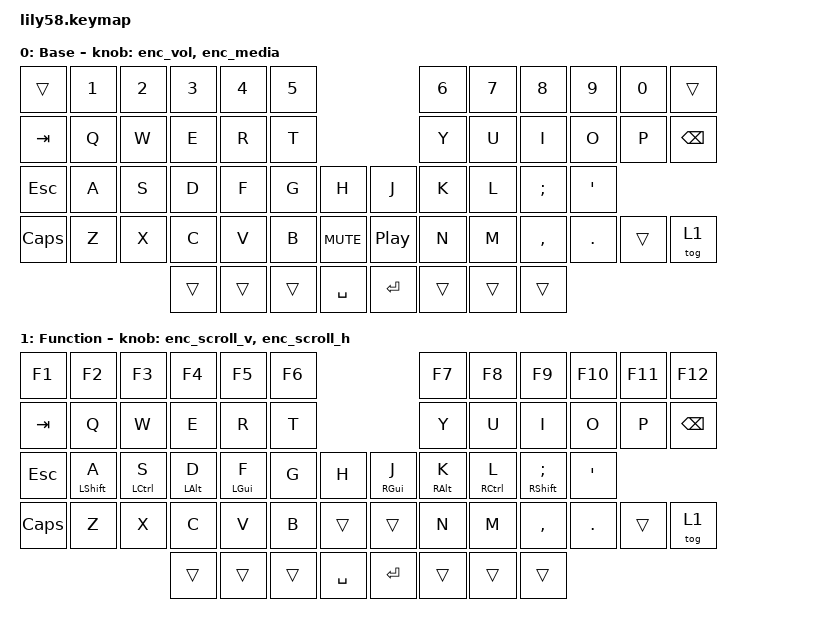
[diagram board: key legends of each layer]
/*
 * Copyright (c) 2020 The ZMK Contributors
 *
 * SPDX-License-Identifier: MIT
 */

#include <behaviors.dtsi>
#include <dt-bindings/zmk/keys.h>
#include <dt-bindings/zmk/bt.h>
#include <dt-bindings/zmk/ext_power.h>
#include <dt-bindings/zmk/outputs.h>

/ {

    behaviors {
        enc_vol: encoder_volume {
            compatible = "zmk,behavior-sensor-rotate";
            #sensor-binding-cells = <0>;
            bindings = <&kp C_VOL_UP>, <&kp C_VOL_DN>;
        };

        enc_media: encoder_media {
            compatible = "zmk,behavior-sensor-rotate";
            #sensor-binding-cells = <0>;
            bindings = <&kp C_PREV>, <&kp C_NEXT>;
        };

        enc_scroll_v: encoder_scroll_v {
            compatible = "zmk,behavior-sensor-rotate";
            #sensor-binding-cells = <0>;
            bindings = <&kp PG_UP>, <&kp PG_DN>;
        };

        enc_scroll_h: encoder_scroll_h {
            compatible = "zmk,behavior-sensor-rotate";
            #sensor-binding-cells = <0>;
            bindings = <&kp LEFT>, <&kp RIGHT>;
        };
    };

    keymap {
        compatible = "zmk,keymap";

        default_layer {
            display-name = "Base";
// ------------------------------------------------------------------------------------------------------------
// |       |  1  |  2  |  3   |  4  |  5  |                   |  6  |  7  |  8  | 9  | 0  |      |
// |  TAB  |  Q  |  W  |  E   |  R  |  T  |                   |  Y  |  U  |  I  | O  | P  | BSPC |
// │  ESC  │  A⇧ │  S⌃ │  D⌥  │  F⌘ │  G  │                   │  H  │  J⌘ │  K⌥ │ L⌃ │ Ñ⇧ │  '   │
// | MAYUS |  Z  |  X  |  C   |  V  |  B  |  VOL  |  | SCROLL |  N  |  M  |  ,  | .  |    | TOG1 |
//                     | TOG1 | MO4 | MO2 | SPACE |  | ENTER  | MO3 | MO5 |     |
            bindings = <
&trans    &kp N1       &kp N2       &kp N3      &kp N4      &kp N5                         &kp N6  &kp N7      &kp N8      &kp N9       &kp N0          &trans
&kp TAB   &kp Q        &kp W        &kp E       &kp R       &kp T                          &kp Y   &kp U       &kp I       &kp O        &kp P           &kp BSPC
&kp ESC   &kp A  &kp S  &kp D  &kp F  &kp G                          &kp H   &kp J  &kp K  &kp L  &kp SEMI  &kp SQT
&kp CAPS  &kp Z        &kp X        &kp C       &kp V       &kp B   &kp C_MUTE  &kp C_PP   &kp N   &kp M       &kp COMMA   &kp DOT      &trans          &tog 1
                                    &trans      &trans      &trans  &kp SPACE   &kp ENTER  &trans  &trans      &trans
            >;

            sensor-bindings = <&enc_vol>, <&enc_media>;
        };

        function_layer {
            display-name = "Function";
// ------------------------------------------------------------------------------------------------------------
// |  F1   | F2  | F3  | F4 | F5  | F6  |                   | F7  | F8  | F9  | F10 | F11 | F12  |
// |  TAB  |  Q  |  W  | E  |  R  |  T  |                   |  Y  |  U  |  I  |  O  |  P  | BSPC |
// │  ESC  │  A⇧ │  S⌃ │ D⌥ │  F⌘ │  G  │                   │  H  │  J⌘ │  K⌥ │  L⌃ │  Ñ⇧ │  '   │
// | MAYUS |  Z  |  X  | C  |  V  |  B  |  VOL  |  | SCROLL |  N  |  M  |  ,  |  .  |     | TOG1 |
//                     |    | MO4 | MO2 | SPACE |  | ENTER  | MO3 | MO5 |     |
            bindings = <
&kp F1    &kp F2       &kp F3       &kp F4      &kp F5      &kp F6                        &kp F7  &kp F8      &kp F9      &kp F10      &kp F11         &kp F12
&kp TAB   &kp Q        &kp W        &kp E       &kp R       &kp T                         &kp Y   &kp U       &kp I       &kp O        &kp P           &kp BSPC
&kp ESC   &mt LSHFT A  &mt LCTRL S  &mt LALT D  &mt LGUI F  &kp G                         &kp H   &mt RGUI J  &mt RALT K  &mt RCTRL L  &mt RSHFT SEMI  &kp SQT
&kp CAPS  &kp Z        &kp X        &kp C       &kp V       &kp B   &trans     &trans     &kp N   &kp M       &kp COMMA   &kp DOT      &trans          &tog 1
                                    &trans      &trans      &trans  &kp SPACE  &kp ENTER  &trans  &trans      &trans
            >;

            sensor-bindings = <&enc_scroll_v>, <&enc_scroll_h>;
        };
    };

};
